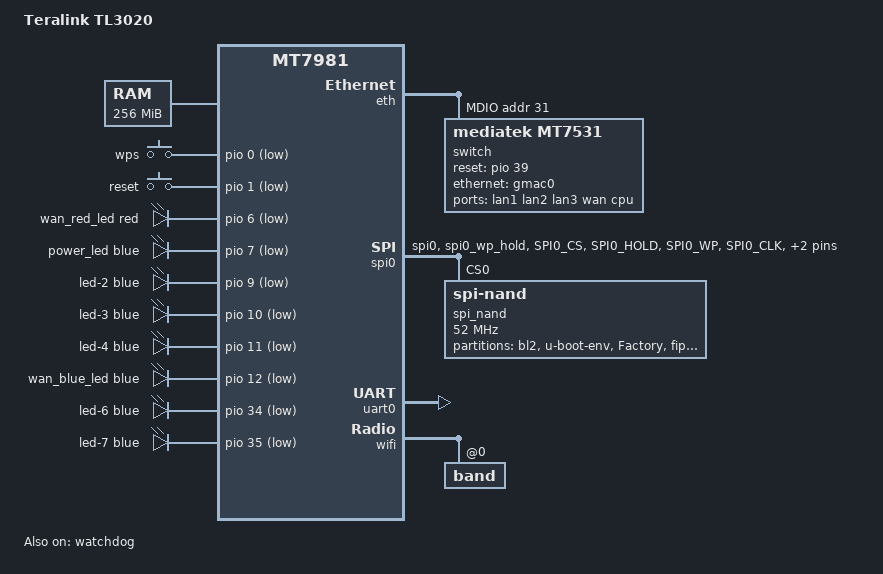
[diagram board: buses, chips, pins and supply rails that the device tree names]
// SPDX-License-Identifier: GPL-2.0-or-later OR MIT
/*
 * Derived from the vendor U-Boot device tree shipped with
 * bl-mt798x-dhcpd (mt7981-teralink-tl3020.dts): GPIO numbers for the
 * LEDs and buttons, the MT7531 reset line and the SPI-NAND setup all
 * come from there, the partition offsets from
 * CONFIG_MTDPARTS_DEFAULT of mt7981_teralink_tl3020_defconfig.
 *
 * The switch port -> socket mapping and the Factory MAC offsets are the
 * layout used by the majority of the MT7981 boards in this target; they
 * could not be taken from the vendor tree because U-Boot only drives
 * one port.  Verify on real hardware before relying on the labels.
 */

/dts-v1/;
#include <dt-bindings/gpio/gpio.h>
#include <dt-bindings/input/input.h>
#include <dt-bindings/leds/common.h>

#include "mt7981.dtsi"

/ {
	model = "Teralink TL3020";
	compatible = "teralink,tl3020", "mediatek,mt7981";

	aliases {
		serial0 = &uart0;
		label-mac-device = &gmac0;
		led-boot = &power_led;
		led-failsafe = &wan_red_led;
		led-running = &power_led;
		led-upgrade = &wan_red_led;
	};

	chosen {
		bootargs = "root=/dev/fit0 rootwait";
		rootdisk = <&ubi_rootdisk>;
		stdout-path = "serial0:115200n8";
	};

	memory {
		reg = <0 0x40000000 0 0x10000000>;
	};

	gpio-keys {
		compatible = "gpio-keys";

		button-wps {
			label = "wps";
			linux,code = <KEY_WPS_BUTTON>;
			gpios = <&pio 0 GPIO_ACTIVE_LOW>;
		};

		button-reset {
			label = "reset";
			linux,code = <KEY_RESTART>;
			gpios = <&pio 1 GPIO_ACTIVE_LOW>;
		};
	};

	gpio-leds {
		compatible = "gpio-leds";

		wan_red_led: led-0 {
			function = LED_FUNCTION_WAN;
			color = <LED_COLOR_ID_RED>;
			gpios = <&pio 6 GPIO_ACTIVE_LOW>;
		};

		power_led: led-1 {
			function = LED_FUNCTION_POWER;
			color = <LED_COLOR_ID_BLUE>;
			gpios = <&pio 7 GPIO_ACTIVE_LOW>;
		};

		led-2 {
			function = LED_FUNCTION_LAN;
			function-enumerator = <1>;
			color = <LED_COLOR_ID_BLUE>;
			gpios = <&pio 9 GPIO_ACTIVE_LOW>;
		};

		led-3 {
			function = LED_FUNCTION_LAN;
			function-enumerator = <2>;
			color = <LED_COLOR_ID_BLUE>;
			gpios = <&pio 10 GPIO_ACTIVE_LOW>;
		};

		led-4 {
			function = LED_FUNCTION_LAN;
			function-enumerator = <3>;
			color = <LED_COLOR_ID_BLUE>;
			gpios = <&pio 11 GPIO_ACTIVE_LOW>;
		};

		wan_blue_led: led-5 {
			function = LED_FUNCTION_WAN;
			color = <LED_COLOR_ID_BLUE>;
			gpios = <&pio 12 GPIO_ACTIVE_LOW>;
		};

		led-6 {
			function = LED_FUNCTION_WLAN_2GHZ;
			color = <LED_COLOR_ID_BLUE>;
			gpios = <&pio 34 GPIO_ACTIVE_LOW>;
		};

		led-7 {
			function = LED_FUNCTION_WLAN_5GHZ;
			color = <LED_COLOR_ID_BLUE>;
			gpios = <&pio 35 GPIO_ACTIVE_LOW>;
		};
	};
};

&eth {
	status = "okay";

	gmac0: mac@0 {
		compatible = "mediatek,eth-mac";
		reg = <0>;
		phy-mode = "2500base-x";
		nvmem-cells = <&macaddr_factory_2a 0>;
		nvmem-cell-names = "mac-address";

		fixed-link {
			speed = <2500>;
			full-duplex;
			pause;
		};
	};

	mdio: mdio-bus {
		#address-cells = <1>;
		#size-cells = <0>;

		switch@0 {
			compatible = "mediatek,mt7531";
			reg = <31>;
			reset-gpios = <&pio 39 0>;

			ports {
				#address-cells = <1>;
				#size-cells = <0>;

				port@0 {
					reg = <0>;
					label = "lan1";
				};

				port@1 {
					reg = <1>;
					label = "lan2";
				};

				port@2 {
					reg = <2>;
					label = "lan3";
				};

				port@3 {
					reg = <3>;
					label = "wan";
					nvmem-cells = <&macaddr_factory_24 0>;
					nvmem-cell-names = "mac-address";
				};

				port@6 {
					reg = <6>;
					label = "cpu";
					ethernet = <&gmac0>;
					phy-mode = "2500base-x";

					fixed-link {
						speed = <2500>;
						full-duplex;
						pause;
					};
				};
			};
		};
	};
};

&pio {
	spi0_flash_pins: spi0-pins {
		mux {
			function = "spi";
			groups = "spi0", "spi0_wp_hold";
		};

		conf-pu {
			pins = "SPI0_CS", "SPI0_HOLD", "SPI0_WP";
			drive-strength = <MTK_DRIVE_8mA>;
			bias-pull-up = <MTK_PUPD_SET_R1R0_11>;
		};

		conf-pd {
			pins = "SPI0_CLK", "SPI0_MOSI", "SPI0_MISO";
			drive-strength = <MTK_DRIVE_8mA>;
			bias-pull-down = <MTK_PUPD_SET_R1R0_11>;
		};
	};
};

&spi0 {
	pinctrl-names = "default";
	pinctrl-0 = <&spi0_flash_pins>;
	status = "okay";

	spi_nand: spi-nand@0 {
		compatible = "spi-nand";
		reg = <0>;
		spi-max-frequency = <52000000>;

		spi-tx-bus-width = <4>;
		spi-rx-bus-width = <4>;

		partitions {
			compatible = "fixed-partitions";
			#address-cells = <1>;
			#size-cells = <1>;

			partition@0 {
				label = "bl2";
				reg = <0x0000000 0x0100000>;
			};

			partition@100000 {
				label = "u-boot-env";
				reg = <0x0100000 0x0080000>;
			};

			partition@180000 {
				label = "Factory";
				reg = <0x0180000 0x0200000>;

				nvmem-layout {
					compatible = "fixed-layout";
					#address-cells = <1>;
					#size-cells = <1>;

					eeprom_factory_0: eeprom@0 {
						reg = <0x0 0x1000>;
					};

					macaddr_factory_4: macaddr@4 {
						compatible = "mac-base";
						reg = <0x4 0x6>;
						#nvmem-cell-cells = <1>;
					};

					macaddr_factory_24: macaddr@24 {
						compatible = "mac-base";
						reg = <0x24 0x6>;
						#nvmem-cell-cells = <1>;
					};

					macaddr_factory_2a: macaddr@2a {
						compatible = "mac-base";
						reg = <0x2a 0x6>;
						#nvmem-cell-cells = <1>;
					};
				};
			};

			partition@380000 {
				label = "fip";
				reg = <0x0380000 0x0200000>;
			};

			partition@580000 {
				label = "config2";
				reg = <0x0580000 0x0100000>;
			};

			/*
			 * Sized for the largest SPI-NAND this board is
			 * reflashed with; the MTD core truncates the
			 * partition on 128 MiB and 256 MiB parts.
			 */
			ubi: partition@680000 {
				label = "ubi";
				reg = <0x680000 0xe980000>;
				compatible = "linux,ubi";

				volumes {
					ubi_rootdisk: ubi-volume-fit {
						volname = "fit";
					};
				};
			};
		};
	};
};

&uart0 {
	status = "okay";
};

&watchdog {
	status = "okay";
};

&wifi {
	status = "okay";
	nvmem-cells = <&eeprom_factory_0>;
	nvmem-cell-names = "eeprom";

	band@0 {
		reg = <0>;
		nvmem-cells = <&macaddr_factory_4 0>;
		nvmem-cell-names = "mac-address";
	};
};
